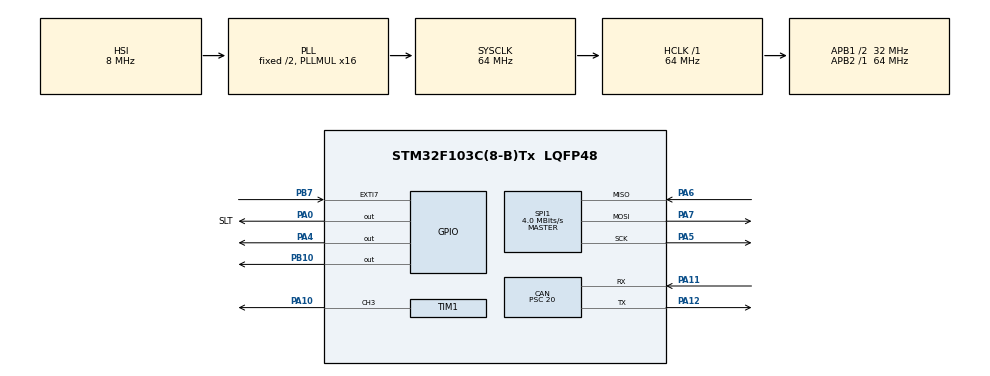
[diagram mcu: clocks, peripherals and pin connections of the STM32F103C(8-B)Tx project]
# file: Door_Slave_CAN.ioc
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CAN.ABOM=ENABLE
CAN.AWUM=ENABLE
CAN.BS1=CAN_BS1_13TQ
CAN.BS2=CAN_BS2_2TQ
CAN.CalculateBaudRate=100000
CAN.CalculateTimeBit=10000
CAN.CalculateTimeQuantum=625.0
CAN.NART=ENABLE
CAN.Prescaler=20
CAN.SJW=CAN_SJW_1TQ
Mcu.Family=STM32F1
Mcu.Name=STM32F103C(8-B)Tx
Mcu.Package=LQFP48
NVIC.EXTI9_5_IRQn=true\:1\:0\:true\:false\:true\:true\:true\:true
NVIC.PriorityGroup=NVIC_PRIORITYGROUP_4
PA0-WKUP.GPIO_Label=SLT
PA0-WKUP.Signal=GPIO_Output
PA10.Signal=S_TIM1_CH3
PA11.Mode=CAN_Activate
PA11.Signal=CAN_RX
PA12.Mode=CAN_Activate
PA12.Signal=CAN_TX
PA13.Mode=Serial_Wire
PA13.Signal=SYS_JTMS-SWDIO
PA14.Mode=Serial_Wire
PA14.Signal=SYS_JTCK-SWCLK
PA4.Signal=GPIO_Output
PA5.Mode=Full_Duplex_Master
PA5.Signal=SPI1_SCK
PA6.Mode=Full_Duplex_Master
PA6.Signal=SPI1_MISO
PA7.Mode=Full_Duplex_Master
PA7.Signal=SPI1_MOSI
PB10.Signal=GPIO_Output
PB7.GPIO_ModeDefaultEXTI=GPIO_MODE_IT_FALLING
PB7.GPIO_PuPd=GPIO_PULLUP
PB7.Signal=GPXTI7
ProjectManager.HeapSize=0x200
ProjectManager.StackSize=0x400
ProjectManager.TargetToolchain=STM32CubeIDE
RCC.AHBFreq_Value=64000000
RCC.APB1CLKDivider=RCC_HCLK_DIV2
RCC.APB1Freq_Value=32000000
RCC.APB1TimFreq_Value=64000000
RCC.APB2Freq_Value=64000000
RCC.APB2TimFreq_Value=64000000
RCC.HCLKFreq_Value=64000000
RCC.PLLMUL=RCC_PLL_MUL16
RCC.SYSCLKFreq_VALUE=64000000
RCC.SYSCLKSource=RCC_SYSCLKSOURCE_PLLCLK
RCC.USBFreq_Value=64000000
SH.S_TIM1_CH3.0=TIM1_CH3,PWM Generation3 CH3
SPI1.BaudRatePrescaler=SPI_BAUDRATEPRESCALER_16
SPI1.CalculateBaudRate=4.0 MBits/s
SPI1.Direction=SPI_DIRECTION_2LINES
SPI1.Mode=SPI_MODE_MASTER
SPI1.VirtualType=VM_MASTER
TIM1.Channel-PWM\ Generation3\ CH3=TIM_CHANNEL_3
TIM1.OCPolarity_3=TIM_OCPOLARITY_HIGH
TIM1.Period=19999
TIM1.Prescaler=63
TIM1.Pulse-PWM\ Generation3\ CH3=2000
VP_TIM1_VS_ClockSourceINT.Mode=Internal
board=custom

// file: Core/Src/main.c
/* USER CODE BEGIN Header */
/**
  ******************************************************************************
  * @file           : main.c
  * @brief          : Main program body
  ******************************************************************************
  * @attention
  *
  * Copyright (c) 2026 STMicroelectronics.
  * All rights reserved.
  *
  * This software is licensed under terms that can be found in the LICENSE file
  * in the root directory of this software component.
  * If no LICENSE file comes with this software, it is provided AS-IS.
  *
  ******************************************************************************
  */
/* USER CODE END Header */
#include "main.h"

/* USER CODE BEGIN Includes */
#include "MFRC522.h"
/* USER CODE END Includes */

CAN_HandleTypeDef hcan;

SPI_HandleTypeDef hspi1;

TIM_HandleTypeDef htim1;

/* USER CODE BEGIN PV */
uint8_t doorState = 0; /* 0 = door close, 1 = door open */
CAN_TxHeaderTypeDef   TxHeader =
{
	.IDE = CAN_ID_STD,
	.RTR = CAN_RTR_DATA,
	.TransmitGlobalTime = DISABLE
};
uint8_t               TxData[8];
uint32_t              TxMailbox;
uint8_t btFlag = 0;
/* USER CODE END PV */

void SystemClock_Config(void);
static void MX_GPIO_Init(void);
static void MX_SPI1_Init(void);
static void MX_TIM1_Init(void);
static void MX_CAN_Init(void);

/* USER CODE BEGIN 0 */
void dummy_delay_us(uint32_t us)
{
    /*
     * 64 MHz → 64 cycles / us
     * 1 vòng for + __NOP() ≈ 3–4 cycles
     * Ở đây chọn hệ số 16 để tương đối chính xác
     */
    volatile uint32_t count = us * 32U;

    while (count--)
    {
        __NOP();
    }
}
void Servo_Init()
{
	HAL_TIM_PWM_Start(&htim1, TIM_CHANNEL_3);
}
void Servo_DeInit()
{
	HAL_TIM_PWM_Start(&htim1, TIM_CHANNEL_3);
}
void Servo_Write(uint8_t DestAngle)
{
    uint16_t DestPulse = 0;
    DestPulse = 450 + (uint32_t)DestAngle * (2000 - 450) / 180;

    __HAL_TIM_SET_COMPARE(&htim1, TIM_CHANNEL_3, DestPulse);
    dummy_delay_us(100);
}
/* USER CODE END 0 */

int main(void)
{

  /* MCU Configuration--------------------------------------------------------*/

  /* Reset of all peripherals, Initializes the Flash interface and the Systick. */
  HAL_Init();

  /* Configure the system clock */
  SystemClock_Config();

  /* Initialize all configured peripherals */
  MX_GPIO_Init();
  MX_SPI1_Init();
  MX_TIM1_Init();
  MX_CAN_Init();
  /* USER CODE BEGIN 2 */
  MFRC522_Init();
  Servo_Init();
  HAL_CAN_Start(&hcan);

  uint8_t status;
  uint8_t cardType[2];
  uint8_t uid[4] = {0};
  /* USER CODE END 2 */

  /* Infinite loop */
  while (1)
  {

    /* USER CODE BEGIN 3 */
	if(btFlag == 1)
	{
		btFlag = 0;
		if(doorState == 1)
		{
			doorState = 0;
			Servo_Write(180);
			TxHeader.StdId = 0x302;
			TxHeader.DLC = 1;
			TxData [0] = 0;
			if (HAL_CAN_AddTxMessage(&hcan, &TxHeader, TxData, &TxMailbox) != HAL_OK)
			{
			   Error_Handler ();
			}
		}
	}

	HAL_GPIO_WritePin(SLT_GPIO_Port, SLT_Pin, 0);
	status = MFRC522_Request(PICC_REQIDL, cardType);
	// Chống va chạm, đọc UID
	status = MFRC522_Anticoll(uid);

	/* Open door when reading correct tag */
	if(status == 0)
	{
		if((uid[0] == 61 && uid[1] == 192 && uid[2] == 247 && uid[3] == 6) && (doorState == 0))
		{	/* Open door */
			Servo_Write(90);
			doorState = 1;
			TxHeader.StdId = 0x301;
			TxHeader.DLC = 4;
			TxData [0] = uid[0];
			TxData [1] = uid[1];
			TxData [2] = uid[2];
			TxData [3] = uid[3];

			if (HAL_CAN_AddTxMessage(&hcan, &TxHeader, TxData, &TxMailbox) != HAL_OK)
			{
			   Error_Handler();
			}

			HAL_Delay(20);

			TxHeader.StdId = 0x302;
			TxHeader.DLC = 1;
			TxData [0] = 1;
			if (HAL_CAN_AddTxMessage(&hcan, &TxHeader, TxData, &TxMailbox) != HAL_OK)
			{
			   Error_Handler();
			}
		}
	}
	if(doorState == 0)
	{
		Servo_Write(180);
	}
  }
  /* USER CODE END 3 */
}

void SystemClock_Config(void)
{
  RCC_OscInitTypeDef RCC_OscInitStruct = {0};
  RCC_ClkInitTypeDef RCC_ClkInitStruct = {0};

  /** Initializes the RCC Oscillators according to the specified parameters
  * in the RCC_OscInitTypeDef structure.
  */
  RCC_OscInitStruct.OscillatorType = RCC_OSCILLATORTYPE_HSI;
  RCC_OscInitStruct.HSIState = RCC_HSI_ON;
  RCC_OscInitStruct.HSICalibrationValue = RCC_HSICALIBRATION_DEFAULT;
  RCC_OscInitStruct.PLL.PLLState = RCC_PLL_ON;
  RCC_OscInitStruct.PLL.PLLSource = RCC_PLLSOURCE_HSI_DIV2;
  RCC_OscInitStruct.PLL.PLLMUL = RCC_PLL_MUL16;
  if (HAL_RCC_OscConfig(&RCC_OscInitStruct) != HAL_OK)
  {
    Error_Handler();
  }

  /** Initializes the CPU, AHB and APB buses clocks
  */
  RCC_ClkInitStruct.ClockType = RCC_CLOCKTYPE_HCLK|RCC_CLOCKTYPE_SYSCLK
                              |RCC_CLOCKTYPE_PCLK1|RCC_CLOCKTYPE_PCLK2;
  RCC_ClkInitStruct.SYSCLKSource = RCC_SYSCLKSOURCE_PLLCLK;
  RCC_ClkInitStruct.AHBCLKDivider = RCC_SYSCLK_DIV1;
  RCC_ClkInitStruct.APB1CLKDivider = RCC_HCLK_DIV2;
  RCC_ClkInitStruct.APB2CLKDivider = RCC_HCLK_DIV1;

  if (HAL_RCC_ClockConfig(&RCC_ClkInitStruct, FLASH_LATENCY_2) != HAL_OK)
  {
    Error_Handler();
  }
}

static void MX_CAN_Init(void)
{

  hcan.Instance = CAN1;
  hcan.Init.Prescaler = 20;
  hcan.Init.Mode = CAN_MODE_NORMAL;
  hcan.Init.SyncJumpWidth = CAN_SJW_1TQ;
  hcan.Init.TimeSeg1 = CAN_BS1_13TQ;
  hcan.Init.TimeSeg2 = CAN_BS2_2TQ;
  hcan.Init.TimeTriggeredMode = DISABLE;
  hcan.Init.AutoBusOff = ENABLE;
  hcan.Init.AutoWakeUp = ENABLE;
  hcan.Init.AutoRetransmission = ENABLE;
  hcan.Init.ReceiveFifoLocked = DISABLE;
  hcan.Init.TransmitFifoPriority = DISABLE;
  if (HAL_CAN_Init(&hcan) != HAL_OK)
  {
    Error_Handler();
  }
  /* USER CODE BEGIN CAN_Init 2 */
  CAN_FilterTypeDef canfilterconfig;

  canfilterconfig.FilterActivation = CAN_FILTER_ENABLE;
  canfilterconfig.FilterBank = 13;  // which filter bank to use from the assigned ones
  canfilterconfig.FilterFIFOAssignment = CAN_FILTER_FIFO0;
  canfilterconfig.FilterIdHigh = 0x0000;
  canfilterconfig.FilterIdLow = 0x0000;
  canfilterconfig.FilterMaskIdHigh = 0x0000;
  canfilterconfig.FilterMaskIdLow = 0x0000;
  canfilterconfig.FilterMode = CAN_FILTERMODE_IDMASK;
  canfilterconfig.FilterScale = CAN_FILTERSCALE_32BIT;
  canfilterconfig.SlaveStartFilterBank = 20;  // how many filters to assign to the CAN1 (master can)

  HAL_CAN_ConfigFilter(&hcan, &canfilterconfig);
  /* USER CODE END CAN_Init 2 */

}

static void MX_SPI1_Init(void)
{

  /* SPI1 parameter configuration*/
  hspi1.Instance = SPI1;
  hspi1.Init.Mode = SPI_MODE_MASTER;
  hspi1.Init.Direction = SPI_DIRECTION_2LINES;
  hspi1.Init.DataSize = SPI_DATASIZE_8BIT;
  hspi1.Init.CLKPolarity = SPI_POLARITY_LOW;
  hspi1.Init.CLKPhase = SPI_PHASE_1EDGE;
  hspi1.Init.NSS = SPI_NSS_SOFT;
  hspi1.Init.BaudRatePrescaler = SPI_BAUDRATEPRESCALER_16;
  hspi1.Init.FirstBit = SPI_FIRSTBIT_MSB;
  hspi1.Init.TIMode = SPI_TIMODE_DISABLE;
  hspi1.Init.CRCCalculation = SPI_CRCCALCULATION_DISABLE;
  hspi1.Init.CRCPolynomial = 10;
  if (HAL_SPI_Init(&hspi1) != HAL_OK)
  {
    Error_Handler();
  }

}

static void MX_TIM1_Init(void)
{

  TIM_ClockConfigTypeDef sClockSourceConfig = {0};
  TIM_MasterConfigTypeDef sMasterConfig = {0};
  TIM_OC_InitTypeDef sConfigOC = {0};
  TIM_BreakDeadTimeConfigTypeDef sBreakDeadTimeConfig = {0};

  htim1.Instance = TIM1;
  htim1.Init.Prescaler = 63;
  htim1.Init.CounterMode = TIM_COUNTERMODE_UP;
  htim1.Init.Period = 19999;
  htim1.Init.ClockDivision = TIM_CLOCKDIVISION_DIV1;
  htim1.Init.RepetitionCounter = 0;
  htim1.Init.AutoReloadPreload = TIM_AUTORELOAD_PRELOAD_DISABLE;
  if (HAL_TIM_Base_Init(&htim1) != HAL_OK)
  {
    Error_Handler();
  }
  sClockSourceConfig.ClockSource = TIM_CLOCKSOURCE_INTERNAL;
  if (HAL_TIM_ConfigClockSource(&htim1, &sClockSourceConfig) != HAL_OK)
  {
    Error_Handler();
  }
  if (HAL_TIM_PWM_Init(&htim1) != HAL_OK)
  {
    Error_Handler();
  }
  sMasterConfig.MasterOutputTrigger = TIM_TRGO_RESET;
  sMasterConfig.MasterSlaveMode = TIM_MASTERSLAVEMODE_DISABLE;
  if (HAL_TIMEx_MasterConfigSynchronization(&htim1, &sMasterConfig) != HAL_OK)
  {
    Error_Handler();
  }
  sConfigOC.OCMode = TIM_OCMODE_PWM1;
  sConfigOC.Pulse = 2000;
  sConfigOC.OCPolarity = TIM_OCPOLARITY_HIGH;
  sConfigOC.OCNPolarity = TIM_OCNPOLARITY_HIGH;
  sConfigOC.OCFastMode = TIM_OCFAST_DISABLE;
  sConfigOC.OCIdleState = TIM_OCIDLESTATE_RESET;
  sConfigOC.OCNIdleState = TIM_OCNIDLESTATE_RESET;
  if (HAL_TIM_PWM_ConfigChannel(&htim1, &sConfigOC, TIM_CHANNEL_3) != HAL_OK)
  {
    Error_Handler();
  }
  sBreakDeadTimeConfig.OffStateRunMode = TIM_OSSR_DISABLE;
  sBreakDeadTimeConfig.OffStateIDLEMode = TIM_OSSI_DISABLE;
  sBreakDeadTimeConfig.LockLevel = TIM_LOCKLEVEL_OFF;
  sBreakDeadTimeConfig.DeadTime = 0;
  sBreakDeadTimeConfig.BreakState = TIM_BREAK_DISABLE;
  sBreakDeadTimeConfig.BreakPolarity = TIM_BREAKPOLARITY_HIGH;
  sBreakDeadTimeConfig.AutomaticOutput = TIM_AUTOMATICOUTPUT_DISABLE;
  if (HAL_TIMEx_ConfigBreakDeadTime(&htim1, &sBreakDeadTimeConfig) != HAL_OK)
  {
    Error_Handler();
  }
  HAL_TIM_MspPostInit(&htim1);

}

static void MX_GPIO_Init(void)
{
  GPIO_InitTypeDef GPIO_InitStruct = {0};

  /* GPIO Ports Clock Enable */
  __HAL_RCC_GPIOA_CLK_ENABLE();
  __HAL_RCC_GPIOB_CLK_ENABLE();

  /*Configure GPIO pin Output Level */
  HAL_GPIO_WritePin(GPIOA, SLT_Pin|GPIO_PIN_4, GPIO_PIN_RESET);

  /*Configure GPIO pin Output Level */
  HAL_GPIO_WritePin(GPIOB, GPIO_PIN_10, GPIO_PIN_RESET);

  /*Configure GPIO pins : SLT_Pin PA4 */
  GPIO_InitStruct.Pin = SLT_Pin|GPIO_PIN_4;
  GPIO_InitStruct.Mode = GPIO_MODE_OUTPUT_PP;
  GPIO_InitStruct.Pull = GPIO_NOPULL;
  GPIO_InitStruct.Speed = GPIO_SPEED_FREQ_LOW;
  HAL_GPIO_Init(GPIOA, &GPIO_InitStruct);

  /*Configure GPIO pin : PB10 */
  GPIO_InitStruct.Pin = GPIO_PIN_10;
  GPIO_InitStruct.Mode = GPIO_MODE_OUTPUT_PP;
  GPIO_InitStruct.Pull = GPIO_NOPULL;
  GPIO_InitStruct.Speed = GPIO_SPEED_FREQ_LOW;
  HAL_GPIO_Init(GPIOB, &GPIO_InitStruct);

  /*Configure GPIO pin : PB7 */
  GPIO_InitStruct.Pin = GPIO_PIN_7;
  GPIO_InitStruct.Mode = GPIO_MODE_IT_FALLING;
  GPIO_InitStruct.Pull = GPIO_PULLUP;
  HAL_GPIO_Init(GPIOB, &GPIO_InitStruct);

  /* EXTI interrupt init*/
  HAL_NVIC_SetPriority(EXTI9_5_IRQn, 1, 0);
  HAL_NVIC_EnableIRQ(EXTI9_5_IRQn);

}

/* USER CODE BEGIN 4 */
void HAL_GPIO_EXTI_Callback(uint16_t GPIO_Pin)
{
	if(GPIO_Pin == GPIO_PIN_7)
	{
		btFlag = 1;
	}

}
/* USER CODE END 4 */

void Error_Handler(void)
{
  __disable_irq();
  while (1)
  {
  }
}
